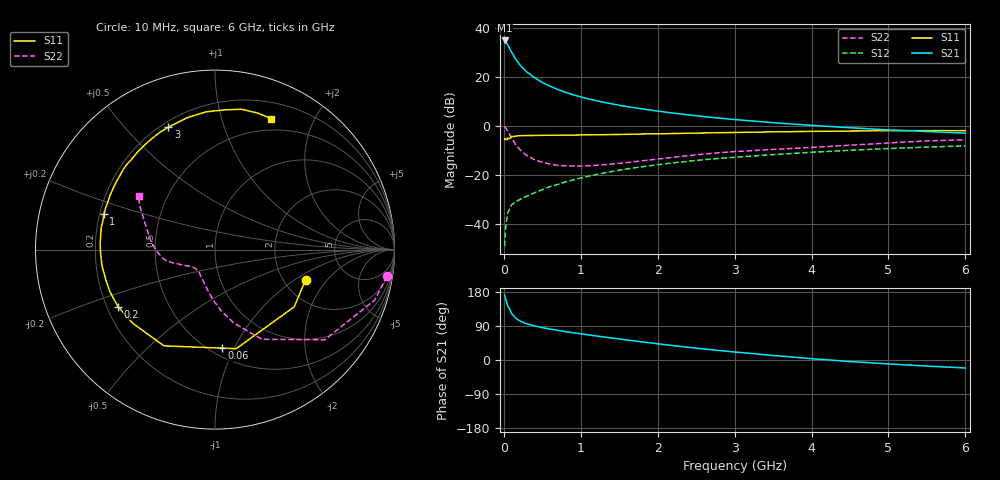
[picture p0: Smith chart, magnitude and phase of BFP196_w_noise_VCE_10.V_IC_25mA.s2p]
! Infineon Technologies  Discrete & RF Semiconductors
! BFP196
! VCE =  10. V,  IC =  25 mA
! Common Emitter S-Parameters:  Jan 2017
# GHz  S  MA  R  50
!  f  S11  S21  S12  S22
! GHz  MAG  ANG  MAG  ANG  MAG  ANG  MAG  ANG
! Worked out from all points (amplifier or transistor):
!   77 points, 10 MHz to 6 GHz, reference 50 ohm
!   highest |S21| = 34.8 dB at 10 MHz (marker M1)
!   |S21| within 3 dB of that: start of sweep to 70.78 MHz
!   unconditionally stable (mu >= 1): 768.3 MHz to 2.379 GHz
!   at 130 MHz: K = 0.42, MSG = 30.0 dB, |S12| = -31.5 dB
!   at 2.2 GHz: K = 1.01, MAG = 9.5 dB, |S12| = -15.1 dB
!   at 6 GHz: K = 0.92, MSG = 2.6 dB, |S12| = -8.2 dB
!   lowest NFmin = 1.15 dB at 450 MHz
!   S11 on the Smith chart (normalised r, x): 10 MHz: 2.63, -1.23; 60 MHz: 0.57, -0.89; 200 MHz: 0.25, -0.26; 1 GHz: 0.22, +0.15; 3 GHz: 0.23, +0.66; 6 GHz: 0.37, +1.46
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0.01  0.5321 -18.3  54.92 171.2  0.0035 77.6  0.969 -8.8
0.02  0.5445 -35.8  53.86 163.3  0.0073 81.1  0.9328 -17.6
0.05  0.5645 -77.9  44.96 142.9  0.0164 60.4  0.7916 -39.4
0.06  0.5501 -86.1  41.96 139.9  0.0179 57.8  0.7384 -42.8
0.1  0.6069 -117.9  31.7 122.3  0.0242 50.9  0.5639 -62.4
0.15  0.6149 -137.9  23.25 111.2  0.0281 47.1  0.4218 -75.7
0.2  0.6269 -149.6  18.17 104.2  0.0308 47.4  0.3386 -84.8
0.25  0.6305 -157.9  14.8 99.0  0.034 48.0  0.2843 -91.5
0.3  0.631 -163.7  12.47 95.5  0.0366 49.5  0.2474 -97.2
0.4  0.636 -171.9  9.506 89.8  0.0428 53.0  0.2031 -105.9
0.5  0.6376 -178.1  7.638 85.4  0.0496 55.9  0.1793 -113.1
0.6  0.6409 177.0  6.406 81.6  0.0574 57.6  0.165 -119.3
0.7  0.6415 173.0  5.502 78.4  0.0635 58.7  0.1556 -123.7
1  0.6501 162.3  3.883 69.0  0.0862 59.6  0.1514 -135.3
1.1  0.6522 159.0  3.539 66.3  0.0933 59.7  0.1532 -137.6
1.5  0.665 147.3  2.62 55.5  0.1238 57.4  0.1712 -147.5
2.1  0.6883 130.9  1.9 40.5  0.1677 51.7  0.218 -158.3
3  0.7302 110.9  1.339 21.0  0.2277 41.5  0.2971 -171.3
3.1  0.7329 109.0  1.3 19.4  0.2336 40.3  0.303 -173.0
4.1  0.7704 92.1  0.997 2.0  0.2931 29.0  0.3693 169.8
5.1  0.7952 78.0  0.81 -11.5  0.3472 17.6  0.4545 153.5
6  0.7949 66.7  0.706 -21.1  0.3892 7.4  0.5173 144.5
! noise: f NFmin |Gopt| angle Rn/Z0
0.45  1.15  0.34  164  0.05
0.9  1.34  0.45  -176  0.06
1.9  2.21  0.68  -136  0.24
2.4  2.64  0.71  -122  0.59
